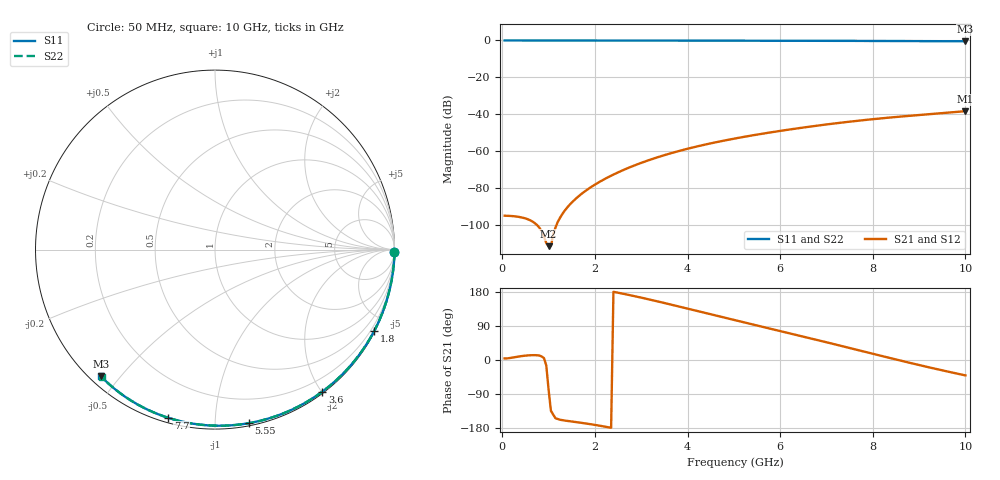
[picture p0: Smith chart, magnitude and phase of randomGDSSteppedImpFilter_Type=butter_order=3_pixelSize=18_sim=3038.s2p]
! freq	dB(S11)	phase(S11)	dB(S12)	phase(S12)
!  dB(S21)	phase(S21)	dB(S22)	phase(S22)
!S-par simulation data
#  GHz  S  DB  R 50
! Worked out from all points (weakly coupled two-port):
!   200 points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, 50 MHz to 10 GHz, reference 50 ohm
!   highest |S21| = -38.36 dB at 10 GHz (marker M1); lowest = -111.6 dB at 1 GHz (marker M2)
!   lowest |S11| = -0.4 dB at 10 GHz (marker M3), VSWR 38.93, Z = 1.54 - j22.2 ohm
!   |S11| at or under -10 dB: nowhere
!   |S22| runs from -0.4 to 0.0 dB; largest |S21 - S12| = 0
!   S11 on the Smith chart (normalised r, x): 50 MHz: open; 1.8 GHz: 0.04, -4.15; 3.6 GHz: 0.02, -2.01; 5.55 GHz: 0.02, -1.21; 7.7 GHz: 0.02, -0.76; 10 GHz: 0.03, -0.44
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0.05  -0.00 -0.8  -95.06 4.1  -95.06 4.1  -0.00 -0.8
0.5  -0.01 -7.6  -96.53 11.5  -96.53 11.5  -0.01 -7.6
1  -0.02 -15.2  -111.57 -78.8  -111.57 -78.8  -0.02 -15.1
1.75  -0.03 -26.3  -82.45 -166.5  -82.45 -166.5  -0.03 -26.2
1.8  -0.03 -27.1  -81.52 -167.4  -81.52 -167.4  -0.03 -27.0
1.9  -0.04 -28.5  -79.79 -169.3  -79.79 -169.3  -0.04 -28.4
2.05  -0.04 -30.7  -77.43 -172.3  -77.43 -172.3  -0.04 -30.6
2.25  -0.04 -33.7  -74.62 -176.6  -74.62 -176.6  -0.04 -33.5
2.65  -0.05 -39.5  -69.87 173.8  -69.87 173.8  -0.05 -39.3
3  -0.06 -44.5  -66.38 164.6  -66.38 164.6  -0.06 -44.3
3.4  -0.07 -50.1  -62.97 153.3  -62.97 153.3  -0.07 -49.9
3.6  -0.07 -52.9  -61.45 147.5  -61.45 147.5  -0.07 -52.7
3.9  -0.08 -57.1  -59.38 138.6  -59.38 138.6  -0.08 -56.8
4.3  -0.09 -62.5  -56.92 126.6  -56.92 126.6  -0.09 -62.3
5.05  -0.11 -72.5  -53.05 104.3  -53.05 104.3  -0.11 -72.2
5.55  -0.13 -79.0  -50.85 89.6  -50.85 89.6  -0.13 -78.7
6.1  -0.15 -86.0  -48.67 73.5  -48.67 73.5  -0.15 -85.7
6.7  -0.18 -93.5  -46.54 55.8  -46.54 55.8  -0.18 -93.1
7.7  -0.24 -105.6  -43.48 25.6  -43.48 25.6  -0.24 -105.1
8.35  -0.29 -113.2  -41.85 5.9  -41.85 5.9  -0.29 -112.7
9.15  -0.36 -122.4  -40.13 -17.6  -40.13 -17.6  -0.35 -121.9
10  -0.45 -132.1  -38.36 -40.6  -38.36 -40.6  -0.44 -131.5
